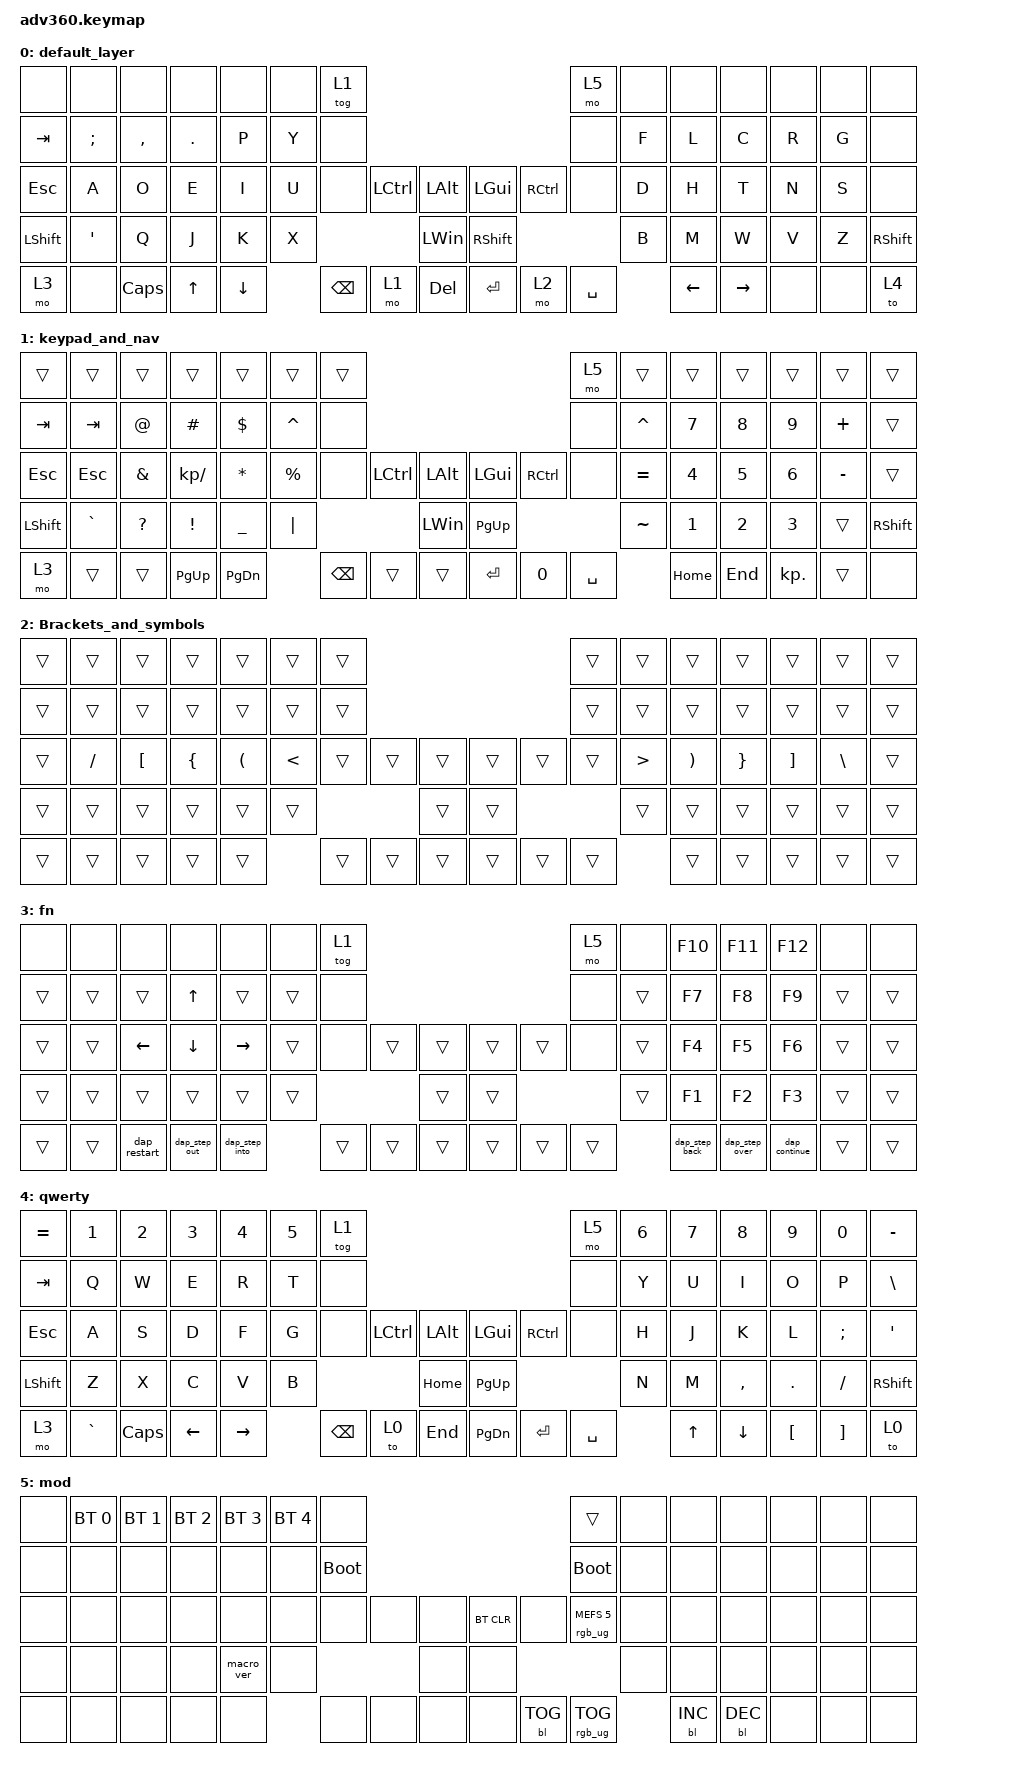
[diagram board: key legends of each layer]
#include <behaviors.dtsi>
#include <dt-bindings/zmk/backlight.h>
#include <dt-bindings/zmk/bt.h>
#include <dt-bindings/zmk/keys.h>
#include <dt-bindings/zmk/rgb.h>

/ {
    behaviors {
        #include "macros.dtsi"
      #include "version.dtsi"
      #ifndef VERSION_MACRO

        
        #endif

        hm: homerow_mods {
            compatible = "zmk,behavior-hold-tap";
            label = "HOMEROW_MODS";
            #binding-cells = <2>;
            tapping-term-ms = <200>;
            quick_tap_ms = <175>;
            flavor = "tap-preferred";
            bindings = <&kp>, <&kp>;
        };
    };

    macros {
        dap_step_into: dap_step_into {
            compatible = "zmk,behavior-macro";
            #binding-cells = <0>;
            bindings = <&kp SPACE &kp D &kp DOWN>;
            label = "DAP_STEP_INTO";
        };

        dap_step_over: dap_step_over {
            compatible = "zmk,behavior-macro";
            #binding-cells = <0>;
            bindings = <&kp SPACE &kp D &kp RIGHT>;
            label = "DAP_STEP_OVER";
        };

        dap_step_out: dap_step_out {
            compatible = "zmk,behavior-macro";
            #binding-cells = <0>;
            bindings = <&kp SPACE &kp D &kp UP>;
            label = "DAP_STEP_OUT";
        };

        dap_step_back: dap_step_back {
            compatible = "zmk,behavior-macro";
            #binding-cells = <0>;
            bindings = <&kp SPACE &kp D &kp LEFT>;
            label = "DAP_STEP_BACK";
        };

        dap_restart: dap_restart {
            compatible = "zmk,behavior-macro";
            #binding-cells = <0>;
            bindings = <&kp SPACE &kp D &kp R>;
            label = "DAP_RESTART";
        };

        dap_continue: dap_continue {
            compatible = "zmk,behavior-macro";
            #binding-cells = <0>;
            bindings = <&kp SPACE &kp D &kp C>;
            label = "DAP_CONTINUE";
        };
    };

    combos {
        compatible = "zmk,combos";

        to_layer_3 {
            bindings = <&mo 3>;
            key-positions = <66 69>;
        };
    };

    keymap {
        compatible = "zmk,keymap";

        default_layer {
            bindings = <
&none      &none          &none      &none       &none     &none  &tog 1                                                       &mo 5      &none  &none     &none      &none  &none  &none
&kp TAB    &kp SEMICOLON  &kp COMMA  &kp PERIOD  &kp P     &kp Y  &none                                                        &none      &kp F  &kp L     &kp C      &kp R  &kp G  &none
&kp ESC    &kp A          &kp O      &kp E       &kp I     &kp U  &none     &kp LCTRL  &kp LALT          &kp LGUI   &kp RCTRL  &none      &kp D  &kp H     &kp T      &kp N  &kp S  &none
&kp LSHFT  &kp SQT        &kp Q      &kp J       &kp K     &kp X                       &kp LEFT_WIN      &kp RSHFT                        &kp B  &kp M     &kp W      &kp V  &kp Z  &kp RSHFT
&mo 3      &none          &kp CAPS   &kp UP      &kp DOWN         &kp BSPC  &mo 1      &kp DEL           &kp ENTER  &mo 2      &kp SPACE         &kp LEFT  &kp RIGHT  &none  &none  &to 4
            >;
        };

        keypad_and_nav {
            bindings = <
&trans     &trans     &trans         &trans           &trans         &trans       &trans                                                       &mo 5      &trans     &trans    &trans        &trans      &trans     &trans
&kp TAB    &kp TAB    &kp AT_SIGN    &kp POUND        &kp DOLLAR     &kp CARET    &none                                                        &none      &kp CARET  &kp N7    &kp NUMBER_8  &kp N9      &kp PLUS   &trans
&kp ESC    &kp ESC    &kp AMPERSAND  &kp KP_SLASH     &kp STAR       &kp PERCENT  &none     &kp LCTRL  &kp LALT          &kp LGUI   &kp RCTRL  &none      &kp EQUAL  &kp N4    &kp N5        &kp N6      &kp MINUS  &trans
&kp LSHFT  &kp GRAVE  &kp QUESTION   &kp EXCLAMATION  &kp UNDER      &kp PIPE                          &kp LEFT_WIN      &kp PG_UP                        &kp TILDE  &kp N1    &kp N2        &kp N3      &trans     &kp RSHFT
&mo 3      &trans     &trans         &kp PAGE_UP      &kp PAGE_DOWN               &kp BSPC  &trans     &trans            &kp ENTER  &kp N0     &kp SPACE             &kp HOME  &kp END       &kp KP_DOT  &trans     &none
            >;
        };

        Brackets_and_symbols {
            bindings = <
&trans  &trans    &trans    &trans          &trans                &trans         &trans                                      &trans  &trans            &trans                 &trans           &trans             &trans         &trans
&trans  &trans    &trans    &trans          &trans                &trans         &trans                                      &trans  &trans            &trans                 &trans           &trans             &trans         &trans
&trans  &kp FSLH  &kp LBKT  &kp LEFT_BRACE  &kp LEFT_PARENTHESIS  &kp LESS_THAN  &trans  &trans  &trans      &trans  &trans  &trans  &kp GREATER_THAN  &kp RIGHT_PARENTHESIS  &kp RIGHT_BRACE  &kp RIGHT_BRACKET  &kp BACKSLASH  &trans
&trans  &trans    &trans    &trans          &trans                &trans                         &trans      &trans                  &trans            &trans                 &trans           &trans             &trans         &trans
&trans  &trans    &trans    &trans          &trans                               &trans  &trans  &trans      &trans  &trans  &trans                    &trans                 &trans           &trans             &trans         &trans
            >;
        };

        fn {
            bindings = <
&none   &none   &none         &none          &none           &none   &tog 1                                      &mo 5   &none   &kp F10         &kp F11         &kp F12        &none   &none
&trans  &trans  &trans        &kp UP_ARROW   &trans          &trans  &none                                       &none   &trans  &kp F7          &kp F8          &kp F9         &trans  &trans
&trans  &trans  &kp LEFT      &kp DOWN       &kp RIGHT       &trans  &none   &trans  &trans      &trans  &trans  &none   &trans  &kp F4          &kp F5          &kp F6         &trans  &trans
&trans  &trans  &trans        &trans         &trans          &trans                  &trans      &trans                  &trans  &kp F1          &kp F2          &kp F3         &trans  &trans
&trans  &trans  &dap_restart  &dap_step_out  &dap_step_into          &trans  &trans  &trans      &trans  &trans  &trans          &dap_step_back  &dap_step_over  &dap_continue  &trans  &trans
            >;
        };

        qwerty {
            bindings = <
&kp EQUAL  &kp N1     &kp N2    &kp N3    &kp N4     &kp N5  &tog 1                                                   &mo 5      &kp N6  &kp N7  &kp N8     &kp N9    &kp N0    &kp MINUS
&kp TAB    &kp Q      &kp W     &kp E     &kp R      &kp T   &none                                                    &none      &kp Y   &kp U   &kp I      &kp O     &kp P     &kp BSLH
&kp ESC    &kp A      &kp S     &kp D     &kp F      &kp G   &none     &kp LCTRL  &kp LALT      &kp LGUI   &kp RCTRL  &none      &kp H   &kp J   &kp K      &kp L     &kp SEMI  &kp SQT
&kp LSHFT  &kp Z      &kp X     &kp C     &kp V      &kp B                        &kp HOME      &kp PG_UP                        &kp N   &kp M   &kp COMMA  &kp DOT   &kp FSLH  &kp RSHFT
&mo 3      &kp GRAVE  &kp CAPS  &kp LEFT  &kp RIGHT          &kp BSPC  &to 0      &kp END       &kp PG_DN  &kp ENTER  &kp SPACE          &kp UP  &kp DOWN   &kp LBKT  &kp RBKT  &to 0
            >;
        };

        mod {
            bindings = <
&none  &bt BT_SEL 0  &bt BT_SEL 1  &bt BT_SEL 2  &bt BT_SEL 3  &bt BT_SEL 4  &none                                                  &trans                  &none  &none       &none       &none  &none  &none
&none  &none         &none         &none         &none         &none         &bootloader                                            &bootloader             &none  &none       &none       &none  &none  &none
&none  &none         &none         &none         &none         &none         &none        &none  &none      &bt BT_CLR  &none       &rgb_ug RGB_MEFS_CMD 5  &none  &none       &none       &none  &none  &none
&none  &none         &none         &none         &macro_ver    &none                             &none      &none                                           &none  &none       &none       &none  &none  &none
&none  &none         &none         &none         &none                       &none        &none  &none      &none       &bl BL_TOG  &rgb_ug RGB_TOG                &bl BL_INC  &bl BL_DEC  &none  &none  &none
            >;
        };
    };
};
